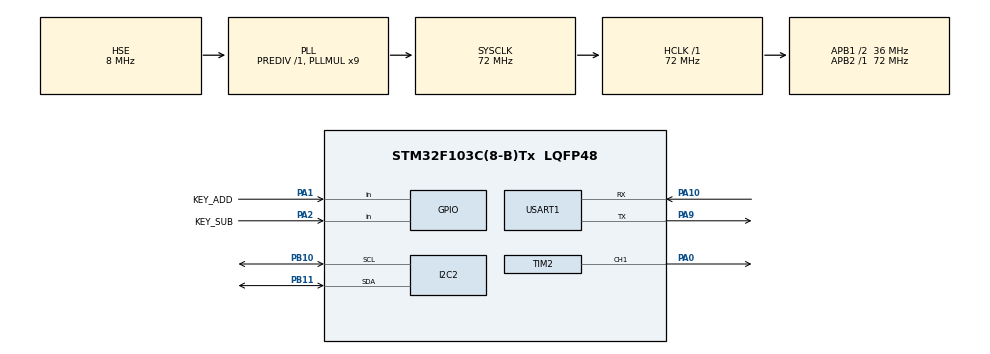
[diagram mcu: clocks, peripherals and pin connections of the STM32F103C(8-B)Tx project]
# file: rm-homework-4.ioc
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Mcu.Family=STM32F1
Mcu.Name=STM32F103C(8-B)Tx
Mcu.Package=LQFP48
NVIC.PriorityGroup=NVIC_PRIORITYGROUP_4
PA0-WKUP.Signal=S_TIM2_CH1_ETR
PA1.GPIO_Label=KEY_ADD
PA1.GPIO_PuPd=GPIO_PULLUP
PA1.Signal=GPIO_Input
PA10.Mode=Asynchronous
PA10.Signal=USART1_RX
PA13.Mode=Serial_Wire
PA13.Signal=SYS_JTMS-SWDIO
PA14.Mode=Serial_Wire
PA14.Signal=SYS_JTCK-SWCLK
PA2.GPIO_Label=KEY_SUB
PA2.GPIO_PuPd=GPIO_PULLUP
PA2.Signal=GPIO_Input
PA9.Mode=Asynchronous
PA9.Signal=USART1_TX
PB10.Mode=I2C
PB10.Signal=I2C2_SCL
PB11.Mode=I2C
PB11.Signal=I2C2_SDA
PD0-OSC_IN.Mode=HSE-External-Oscillator
PD0-OSC_IN.Signal=RCC_OSC_IN
PD1-OSC_OUT.Mode=HSE-External-Oscillator
PD1-OSC_OUT.Signal=RCC_OSC_OUT
ProjectManager.HeapSize=0x200
ProjectManager.StackSize=0x400
ProjectManager.TargetToolchain=CMake
RCC.AHBFreq_Value=72000000
RCC.APB1CLKDivider=RCC_HCLK_DIV2
RCC.APB1Freq_Value=36000000
RCC.APB1TimFreq_Value=72000000
RCC.APB2Freq_Value=72000000
RCC.APB2TimFreq_Value=72000000
RCC.HCLKFreq_Value=72000000
RCC.PLLMUL=RCC_PLL_MUL9
RCC.PLLSourceVirtual=RCC_PLLSOURCE_HSE
RCC.SYSCLKFreq_VALUE=72000000
RCC.SYSCLKSource=RCC_SYSCLKSOURCE_PLLCLK
RCC.USBFreq_Value=72000000
SH.S_TIM2_CH1_ETR.0=TIM2_CH1,PWM Generation1 CH1
TIM2.Channel-PWM\ Generation1\ CH1=TIM_CHANNEL_1
TIM2.Period=20000-1
TIM2.Prescaler=72-1
USART1.VirtualMode=VM_ASYNC
VP_TIM2_VS_ClockSourceINT.Mode=Internal
board=custom

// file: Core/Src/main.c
/* USER CODE BEGIN Header */
/**
  ******************************************************************************
  * @file           : main.c
  * @brief          : Main program body
  ******************************************************************************
  * @attention
  *
  * Copyright (c) 2026 STMicroelectronics.
  * All rights reserved.
  *
  * This software is licensed under terms that can be found in the LICENSE file
  * in the root directory of this software component.
  * If no LICENSE file comes with this software, it is provided AS-IS.
  *
  ******************************************************************************
  */
/* USER CODE END Header */
#include "main.h"
#include "i2c.h"
#include "tim.h"
#include "usart.h"
#include "gpio.h"

/* USER CODE BEGIN Includes */
#include "oled.h"
#include "font.h"
#include <stdio.h>
/* USER CODE END Includes */

void SystemClock_Config(void);

/* USER CODE BEGIN 0 */
/* 角度 → CCR
 * 0° = 500us，180° = 2500us
 * 因为 PSC/ARR 已配成 1 个计数 = 1us，所以 CCR 数值 = 脉宽(us)
 */
uint16_t AngleToCCR(float angle)
{
    if (angle < 0.0f)   angle = 0.0f;
    if (angle > 180.0f) angle = 180.0f;
    /* TODO 1：两端各留 2° 余量，把 0 和 180 换成 2 和 178 */
    if (angle < 2.0f)   angle = 2.0f;
    if (angle > 178.0f) angle = 178.0f;

    return (uint16_t)(500.0f + angle / 180.0f * 2000.0f);
}

void Servo_SetAngle(float angle)
{
    uint16_t ccr = AngleToCCR(angle);
    __HAL_TIM_SET_COMPARE(&htim2, TIM_CHANNEL_1, ccr);
}

int8_t Key_Scan(void)
{
    static uint8_t add_last = 1;   /* 加键上次稳定电平：1 = 松开（上拉） */
    static uint8_t sub_last = 1;   /* 减键上次稳定电平：1 = 松开（上拉） */

    uint8_t add_now = HAL_GPIO_ReadPin(KEY_ADD_GPIO_Port, KEY_ADD_Pin);
    uint8_t sub_now = HAL_GPIO_ReadPin(KEY_SUB_GPIO_Port, KEY_SUB_Pin);

    /* 加键：检测到变化 → 延时 20ms 消抖 → 再确认一次 */
    if (add_now != add_last)
    {
        HAL_Delay(20);
        if (HAL_GPIO_ReadPin(KEY_ADD_GPIO_Port, KEY_ADD_Pin) == add_now)
        {
            add_last = add_now;                    /* 记录新的稳定电平 */
            if (add_now == GPIO_PIN_RESET)         /* 松开→按下：生效一次 */
                return +1;
        }
    }

    // 减键
    if (sub_now != sub_last)
    {
        HAL_Delay(20);
        if (HAL_GPIO_ReadPin(KEY_SUB_GPIO_Port, KEY_SUB_Pin) == sub_now)
        {
            sub_last = sub_now;
            if (sub_now == GPIO_PIN_RESET)
                return -1;
        }
    }

    return 0;
}

/* USER CODE END 0 */

int main(void)
{

  /* MCU Configuration--------------------------------------------------------*/

  /* Reset of all peripherals, Initializes the Flash interface and the Systick. */
  HAL_Init();

  /* Configure the system clock */
  SystemClock_Config();

  /* Initialize all configured peripherals */
  MX_GPIO_Init();
  MX_I2C2_Init();
  MX_TIM2_Init();
  MX_USART1_UART_Init();
  /* USER CODE BEGIN 2 */
  HAL_TIM_PWM_Start(&htim2, TIM_CHANNEL_1);

  HAL_Delay(20);
  OLED_Init();
  OLED_NewFrame();

  const float seq[5] = {0.0f, 45.0f, 90.0f, 135.0f, 180.0f};
  uint8_t  seq_index     = 1;   // 下一个自动序列点（上电已在 0°，所以从 45° 开始）
  float    target        = 0.0f;  // 目标角度
  uint16_t ccr           = AngleToCCR(target);
  char     line[20];
  char     message[50];
  uint32_t last_seq_tick = HAL_GetTick();  // 上一次自动步进的时间
  uint32_t manual_until  = 0;              // 手动操作后暂停自动序列的截止时间
  uint8_t  update        = 1;   // 1 = 需要刷新显示（上电先显示一次）

  Servo_SetAngle(target);       // 上电先转到 0°
  /* USER CODE END 2 */

  /* Infinite loop */
  /* USER CODE BEGIN WHILE */
  while (1)
  {
    uint32_t now = HAL_GetTick();

    int8_t step = Key_Scan();     // 0 = 无按键，+1 = 加键，-1 = 减键

    if (step != 0)
    {
      target += 15.0f * step;             // 每次 ±15°
      if (target < 0.0f)   target = 0.0f; // 限制在 0°~180°
      if (target > 180.0f) target = 180.0f;

      ccr = AngleToCCR(target);
      Servo_SetAngle(target);             // 角度一变立刻输出，不等按键松开
      manual_until = now + 3000;          // 手动操作后 3 秒内不跑自动序列
      update = 1;
    }

    // 自动序列：每满 1000ms 走一步（手动操作后 3 秒内暂停）
    if (now >= manual_until && now - last_seq_tick >= 1000)
    {
      last_seq_tick = now;
      target = seq[seq_index];
      seq_index = (seq_index + 1) % 5;

      ccr = AngleToCCR(target);
      Servo_SetAngle(target);
      update = 1;
    }

    if (update)
    {
      update = 0;

      // OLED信息显示
      OLED_NewFrame();
      sprintf(line, "Target:%03ddeg", (int)target);
      OLED_PrintString(0, 0, line, &font16x16, OLED_COLOR_NORMAL);

      sprintf(line, "CCR   :%4d", ccr);
      OLED_PrintString(0, 18, line, &font16x16, OLED_COLOR_NORMAL);

      sprintf(line, "Pulse :%d.%03dms", ccr / 1000, ccr % 1000);
      OLED_PrintString(0, 36, line, &font16x16, OLED_COLOR_NORMAL);
      OLED_ShowFrame();

      // 串口信息输出
      sprintf(message, "Target=%03ddeg  CCR=%4d  Pulse=%d.%03dms\r\n",
              (int)target, ccr, ccr / 1000, ccr % 1000);
      HAL_UART_Transmit(&huart1, (uint8_t*)message, strlen(message), HAL_MAX_DELAY);
    }

    /* USER CODE END WHILE */

  }
}

void SystemClock_Config(void)
{
  RCC_OscInitTypeDef RCC_OscInitStruct = {0};
  RCC_ClkInitTypeDef RCC_ClkInitStruct = {0};

  /** Initializes the RCC Oscillators according to the specified parameters
  * in the RCC_OscInitTypeDef structure.
  */
  RCC_OscInitStruct.OscillatorType = RCC_OSCILLATORTYPE_HSE;
  RCC_OscInitStruct.HSEState = RCC_HSE_ON;
  RCC_OscInitStruct.HSEPredivValue = RCC_HSE_PREDIV_DIV1;
  RCC_OscInitStruct.HSIState = RCC_HSI_ON;
  RCC_OscInitStruct.PLL.PLLState = RCC_PLL_ON;
  RCC_OscInitStruct.PLL.PLLSource = RCC_PLLSOURCE_HSE;
  RCC_OscInitStruct.PLL.PLLMUL = RCC_PLL_MUL9;
  if (HAL_RCC_OscConfig(&RCC_OscInitStruct) != HAL_OK)
  {
    Error_Handler();
  }

  /** Initializes the CPU, AHB and APB buses clocks
  */
  RCC_ClkInitStruct.ClockType = RCC_CLOCKTYPE_HCLK|RCC_CLOCKTYPE_SYSCLK
                              |RCC_CLOCKTYPE_PCLK1|RCC_CLOCKTYPE_PCLK2;
  RCC_ClkInitStruct.SYSCLKSource = RCC_SYSCLKSOURCE_PLLCLK;
  RCC_ClkInitStruct.AHBCLKDivider = RCC_SYSCLK_DIV1;
  RCC_ClkInitStruct.APB1CLKDivider = RCC_HCLK_DIV2;
  RCC_ClkInitStruct.APB2CLKDivider = RCC_HCLK_DIV1;

  if (HAL_RCC_ClockConfig(&RCC_ClkInitStruct, FLASH_LATENCY_2) != HAL_OK)
  {
    Error_Handler();
  }
}

void Error_Handler(void)
{
  __disable_irq();
  while (1)
  {
  }
}
